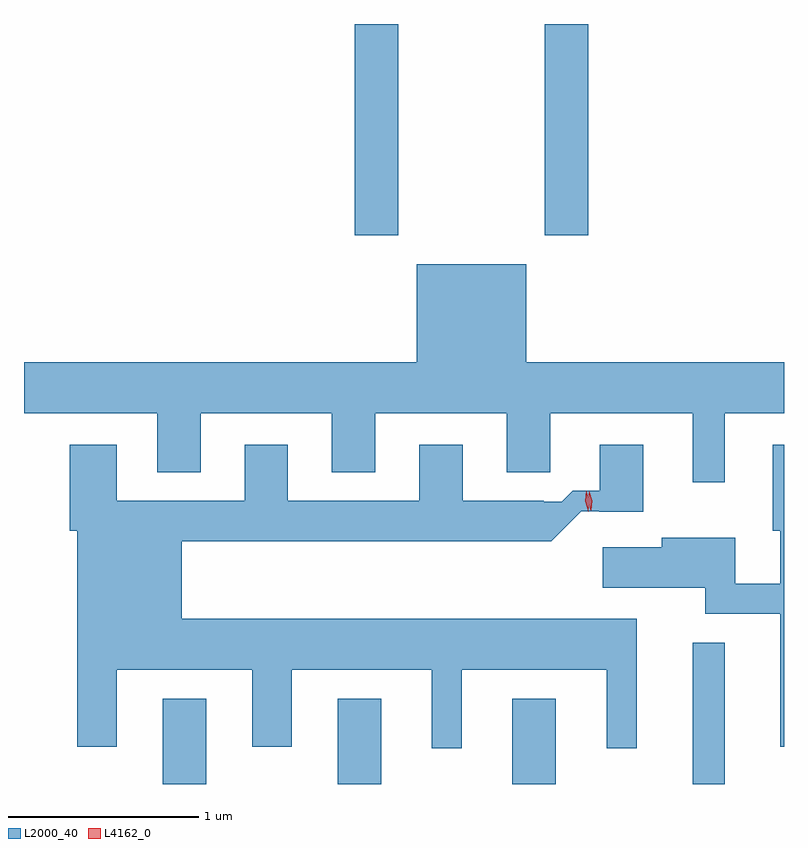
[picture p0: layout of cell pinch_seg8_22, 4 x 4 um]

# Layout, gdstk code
import gdstk
lib = gdstk.Library(unit=1e-6, precision=1e-09)
def R(c, l, rs):  # rectangles x0, y0, x1, y1
    for r in rs: c.add(gdstk.rectangle(r[:2], r[2:], *l))
def A(c, l, x, y, w, h, nx, ny, dx, dy):  # array of equal rectangles
    R(c, l, [(x+i*dx, y+j*dy, x+i*dx+w, y+j*dy+h) for i in range(nx) for j in range(ny)])
def P(c, l, *ps):  # polygons
    for p in ps: c.add(gdstk.Polygon(p, *l))
L2000_40 = (2000, 40)
L4162_0 = (4162, 0)

pinch_seg8_22 = lib.new_cell('pinch_seg8_22')
A(pinch_seg8_22, L2000_40, 1075.321, 1883.304, 0.228, 0.45, 3, 1, 0.92, 0)
R(pinch_seg8_22, L2000_40, [(1078.111,1883.304,1078.279,1884.048), (1076.331,1886.191,1076.559,1887.304), (1077.331,1886.191,1077.559,1887.304)])
P(pinch_seg8_22, L2000_40, [(1078.279,1885.256),(1078.59,1885.256),(1078.59,1885.524),(1077.234,1885.524),(1077.234,1886.039),(1076.656,1886.039),(1076.656,1885.524),(1074.59,1885.524),(1074.59,1885.256),(1075.291,1885.256),(1075.291,1884.946),(1075.519,1884.946),(1075.519,1885.256),(1076.211,1885.256),(1076.211,1884.946),(1076.439,1884.946),(1076.439,1885.256),(1077.131,1885.256),(1077.131,1884.946),(1077.359,1884.946),(1077.359,1885.256),(1078.111,1885.256),(1078.111,1884.893),(1078.279,1884.893)],
  [(1078.59,1885.089),(1078.531,1885.089),(1078.531,1884.636),(1078.571,1884.636),(1078.571,1884.359),(1078.334,1884.359),(1078.334,1884.599),(1077.946,1884.599),(1077.946,1884.549),(1077.636,1884.549),(1077.636,1884.336),(1078.176,1884.336),(1078.176,1884.201),(1078.571,1884.201),(1078.571,1883.501),(1078.59,1883.501)],
  [(1076.894,1883.906),(1077.656,1883.906),(1077.656,1883.493),(1077.814,1883.493),(1077.814,1884.174),(1075.419,1884.174),(1075.419,1884.581),(1077.364,1884.581),(1077.523,1884.74),(1077.617,1884.74),(1077.617,1884.736),(1077.849,1884.736),(1077.849,1885.089),(1077.621,1885.089),(1077.621,1884.848),(1077.478,1884.848),(1077.42,1884.79),(1077.325,1884.79),(1077.325,1884.794),(1076.899,1884.794),(1076.899,1885.089),(1076.671,1885.089),(1076.671,1884.794),(1075.979,1884.794),(1075.979,1885.089),(1075.751,1885.089),(1075.751,1884.794),(1075.079,1884.794),(1075.079,1885.089),(1074.831,1885.089),(1074.831,1884.636),(1074.871,1884.636),(1074.871,1883.501),(1075.079,1883.501),(1075.079,1883.906),(1075.791,1883.906),(1075.791,1883.501),(1075.999,1883.501),(1075.999,1883.906),(1076.736,1883.906),(1076.736,1883.493),(1076.894,1883.493)])
P(pinch_seg8_22, L4162_0, [(1077.56,1884.738),(1077.56,1884.739),(1077.545,1884.792),(1077.549,1884.847),(1077.549,1884.848),(1077.55,1884.847),(1077.564,1884.794),(1077.56,1884.739)],
  [(1077.574,1884.745),(1077.56,1884.794),(1077.565,1884.844),(1077.565,1884.844),(1077.566,1884.844),(1077.58,1884.795),(1077.575,1884.745),(1077.575,1884.745)])

lib.write_gds('pinch_seg8_22.gds')
